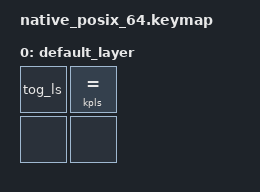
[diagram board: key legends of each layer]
#include <dt-bindings/zmk/keys.h>
#include <behaviors.dtsi>
#include <dt-bindings/zmk/kscan_mock.h>
#include <layout_shift.dtsi>

&tog_ls { layout-maps = <&layout_shift_map_us_to_jis &layout_shift_map_dvorak>; };

/* Invert default declaration order: dvorak first, jis second.
 * EQUAL: dvorak EQUAL->RIGHT_BRACKET, jis RIGHT_BRACKET->BACKSLASH. */
&layout_shift_map_dvorak { priority = <10>; };
&layout_shift_map_us_to_jis    { priority = <20>; };

&kscan {
    events = <
        ZMK_MOCK_PRESS(0,0,10)
        ZMK_MOCK_RELEASE(0,0,10)
        ZMK_MOCK_PRESS(0,1,10)
        ZMK_MOCK_RELEASE(0,1,10)
    >;
};

/ {
    keymap {
        compatible = "zmk,keymap";

        default_layer {
            bindings = <
                &tog_ls &kpls EQUAL
                &none   &none
            >;
        };
    };
};
